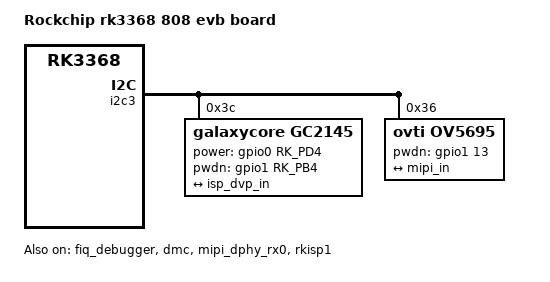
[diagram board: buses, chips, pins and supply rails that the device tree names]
// SPDX-License-Identifier: (GPL-2.0+ OR MIT)
/*
 * Copyright (c) 2019 Fuzhou Rockchip Electronics Co., Ltd
 */

/dts-v1/;
#include "rk3368-808.dtsi"

/ {
	model = "Rockchip rk3368 808 evb board";
	compatible = "rockchip,rk3368-808-evb", "rockchip,rk3368";
};

&chosen {
	bootargs = "earlycon=uart8250,mmio32,0xff690000 console=ttyFIQ0 androidboot.baseband=N/A androidboot.veritymode=enforcing androidboot.hardware=rk30board androidboot.console=ttyFIQ0 androidboot.selinux=permissive init=/init kpti=0";
};

&fiq_debugger {
	status = "okay";
};

&cif {
	status = "disabled";
};

&cif_clkout {
	/* cif_clkout */
	rockchip,pins = <1 RK_PB3 1 &pcfg_pull_none_4ma>;
};

&dmc {
	vop-dclk-mode = <1>;
	status = "okay";
};

&isp_dvp_d2d9 {
	rockchip,pins =
			/* cif_data4 ... cif_data9 */
			<1 RK_PA2 1 &pcfg_pull_down>,
			<1 RK_PA3 1 &pcfg_pull_down>,
			<1 RK_PA4 1 &pcfg_pull_down>,
			<1 RK_PA5 1 &pcfg_pull_down>,
			<1 RK_PA6 1 &pcfg_pull_down>,
			<1 RK_PA7 1 &pcfg_pull_down>,
			/* cif_sync, cif_href */
			<1 RK_PB0 1 &pcfg_pull_down>,
			<1 RK_PB1 1 &pcfg_pull_down>,
			/* cif_clkin */
			<1 RK_PB2 1 &pcfg_pull_down>;
};

&isp_dvp_d10d11 {
	rockchip,pins =
			/* cif_data10, cif_data11 */
			<1 RK_PB6 1 &pcfg_pull_down>,
			<1 RK_PB7 1 &pcfg_pull_down>;
};

&i2c3 {
	status = "okay";

	gc2145: gc2145@3c {
		compatible = "galaxycore,gc2145";
		reg = <0x3c>;
		clocks = <&cru SCLK_VIP_OUT>;
		clock-names = "xvclk";

		pinctrl-names = "default";
		pinctrl-0 = <&isp_dvp_d2d9 &isp_dvp_d10d11 &cif_clkout>;
		power-gpio = <&gpio0 RK_PD4 GPIO_ACTIVE_HIGH>;
		pwdn-gpios = <&gpio1 RK_PB4 GPIO_ACTIVE_HIGH>;
		rockchip,camera-module-index = <1>;
		rockchip,camera-module-facing = "front";
		rockchip,camera-module-name = "CameraKing";
		rockchip,camera-module-lens-name = "Largan";
		port {
			gc2145_out: endpoint {
				remote-endpoint = <&isp_dvp_in>;
			};
		};
	};

	ov5695: ov5695@36 {
		compatible = "ovti,ov5695";
		reg = <0x36>;
		clocks = <&cru SCLK_VIP_OUT>;
		clock-names = "xvclk";
		pwdn-gpios = <&gpio1 13 GPIO_ACTIVE_HIGH>;
		pinctrl-names = "default";
		pinctrl-0 = <&cif_clkout>;
		rockchip,camera-module-index = <0>;
		rockchip,camera-module-facing = "back";
		rockchip,camera-module-name = "TongJu";
		rockchip,camera-module-lens-name = "CHT842-MD";
		port {
			ov5695_out: endpoint {
				remote-endpoint = <&mipi_in>;
				data-lanes = <1 2>;
			};
		};
	};

};

&isp {
	status = "disabled";
};

&isp_mmu {
	status = "okay";
};

&mipi_dphy_rx0 {
	status = "okay";

	ports {
		#address-cells = <1>;
		#size-cells = <0>;

		port@0 {
			reg = <0>;
			#address-cells = <1>;
			#size-cells = <0>;

			mipi_in: endpoint@1 {
				reg = <1>;
				remote-endpoint = <&ov5695_out>;
				data-lanes = <1 2>;
			};
		};

		port@1 {
			reg = <1>;
			#address-cells = <1>;
			#size-cells = <0>;

			dphy_rx_out: endpoint@0 {
				reg = <0>;
				remote-endpoint = <&isp_mipi_in>;
			};
		};
	};
};

&pinctrl {
	pcfg_pull_none_4ma: pcfg-pull-none-4ma {
		bias-disable;
		drive-strength = <4>;
	};
};

&rkisp1 {
	status = "okay";
	port {
		#address-cells = <1>;
		#size-cells = <0>;

		isp_dvp_in: endpoint@1 {
			reg = <1>;
			remote-endpoint = <&gc2145_out>;
		};

		isp_mipi_in: endpoint@0 {
			reg = <0>;
			remote-endpoint = <&dphy_rx_out>;
		};

	};
};

/*
 * In sleep mode, should be close vcca_33 and vcc_lan,
 * but due to small defects in hardware settings and
 * the system sleeps and wakes up, 4g module can not disconnect the network,
 * so system sleep mode cannot be turned off vcca_33 and vcc_lan.
 * This configuration will result in increased power consumption,
 * please configure according to the actual needs of the project.
 */
&vcca_33 {
	regulator-state-mem {
		regulator-on-in-suspend;
	};
};

&vcc_lan {
	regulator-state-mem {
		regulator-on-in-suspend;
	};
};
